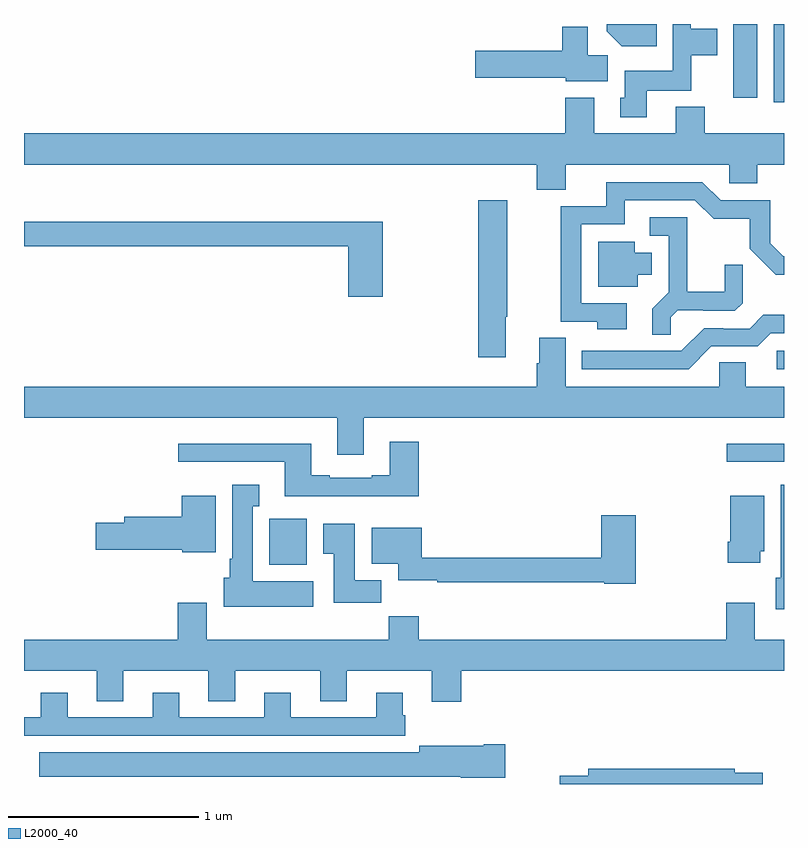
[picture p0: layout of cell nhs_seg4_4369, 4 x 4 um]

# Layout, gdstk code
import gdstk
lib = gdstk.Library(unit=1e-6, precision=1e-09)
def R(c, l, rs):  # rectangles x0, y0, x1, y1
    for r in rs: c.add(gdstk.rectangle(r[:2], r[2:], *l))
def P(c, l, *ps):  # polygons
    for p in ps: c.add(gdstk.Polygon(p, *l))
L2000_40 = (2000, 40)

nhs_seg4_4369 = lib.new_cell('nhs_seg4_4369')
R(nhs_seg4_4369, L2000_40, [(346.292,788.054,346.489,788.296), (348.699,788.595,349,788.692), (348.963,789.084,349,789.18), (348.947,790.488,349,790.9), (348.734,790.512,348.859,790.9)])
P(nhs_seg4_4369, L2000_40, [(348.277,790.55),(348.513,790.55),(348.513,790.736),(348.649,790.736),(348.649,790.876),(348.51,790.876),(348.51,790.9),(348.414,790.9),(348.414,790.654),(348.161,790.654),(348.161,790.512),(348.137,790.512),(348.137,790.41),(348.277,790.41)],
  [(348.329,790.9),(348.068,790.9),(348.068,790.862),(348.146,790.784),(348.329,790.784)],
  [(348.073,790.736),(347.968,790.736),(347.968,790.885),(347.834,790.885),(347.834,790.76),(347.376,790.76),(347.376,790.618),(347.85,790.618),(347.85,790.598),(348.073,790.598)],
  [(347.851,790.16),(348.711,790.16),(348.711,790.062),(348.858,790.062),(348.858,790.16),(349,790.16),(349,790.324),(348.584,790.324),(348.584,790.465),(348.431,790.465),(348.431,790.324),(348.001,790.324),(348.001,790.513),(347.849,790.513),(347.849,790.324),(345,790.324),(345,790.16),(347.699,790.16),(347.699,790.027),(347.851,790.027)],
  [(348.172,789.429),(347.934,789.429),(347.934,789.846),(348.163,789.846),(348.163,789.972),(348.531,789.972),(348.63,789.874),(348.819,789.874),(348.819,789.718),(348.956,789.581),(349,789.581),(349,789.678),(348.996,789.678),(348.927,789.747),(348.927,789.972),(348.666,789.972),(348.57,790.068),(348.065,790.068),(348.065,789.942),(347.826,789.942),(347.826,789.333),(348.016,789.333),(348.016,789.293),(348.172,789.293)],
  [(347.536,789.359),(347.544,789.359),(347.544,789.973),(347.39,789.973),(347.39,789.147),(347.536,789.147)],
  [(348.405,789.356),(348.442,789.393),(348.576,789.393),(348.576,789.39),(348.741,789.39),(348.782,789.431),(348.782,789.633),(348.688,789.633),(348.688,789.49),(348.491,789.49),(348.491,789.882),(348.294,789.882),(348.294,789.786),(348.393,789.786),(348.393,789.487),(348.307,789.401),(348.307,789.265),(348.405,789.265)],
  [(346.889,789.859),(345,789.859),(345,789.73),(346.706,789.73),(346.706,789.465),(346.889,789.465)],
  [(348.229,789.581),(348.304,789.581),(348.304,789.697),(348.214,789.697),(348.214,789.754),(348.023,789.754),(348.023,789.518),(348.229,789.518)],
  [(348.618,789.204),(348.861,789.204),(348.93,789.273),(349,789.273),(349,789.37),(348.892,789.37),(348.819,789.297),(348.68,789.297),(348.68,789.3),(348.579,789.3),(348.459,789.18),(347.936,789.18),(347.936,789.084),(348.498,789.084)],
  [(346.789,788.828),(349,788.828),(349,788.992),(348.799,788.992),(348.799,789.119),(348.66,789.119),(348.66,788.992),(347.851,788.992),(347.851,789.248),(347.711,789.248),(347.711,789.114),(347.699,789.114),(347.699,788.992),(345,788.992),(345,788.828),(346.649,788.828),(346.649,788.634),(346.789,788.634)],
  [(347.078,788.701),(346.925,788.701),(346.925,788.524),(346.829,788.524),(346.829,788.511),(346.609,788.511),(346.609,788.524),(346.513,788.524),(346.513,788.692),(345.813,788.692),(345.813,788.595),(346.373,788.595),(346.373,788.414),(347.078,788.414)],
  [(349,788.476),(348.983,788.476),(348.983,787.986),(348.956,787.986),(348.956,787.82),(349,787.82)],
  [(346.522,787.966),(346.204,787.966),(346.204,788.363),(346.237,788.363),(346.237,788.476),(346.097,788.476),(346.097,788.086),(346.082,788.086),(346.082,787.986),(346.052,787.986),(346.052,787.832),(346.522,787.832)],
  [(346.009,788.416),(345.83,788.416),(345.83,788.306),(345.527,788.306),(345.527,788.276),(345.378,788.276),(345.378,788.134),(345.834,788.134),(345.834,788.12),(346.009,788.12)],
  [(348.874,788.124),(348.895,788.124),(348.895,788.416),(348.716,788.416),(348.716,788.176),(348.704,788.176),(348.704,788.064),(348.874,788.064)],
  [(348.221,788.314),(348.038,788.314),(348.038,788.09),(347.093,788.09),(347.093,788.248),(346.829,788.248),(346.829,788.06),(346.97,788.06),(346.97,787.973),(347.176,787.973),(347.176,787.962),(348.054,787.962),(348.054,787.954),(348.221,787.954)],
  [(346.88,787.972),(346.741,787.972),(346.741,788.269),(346.574,788.269),(346.574,788.113),(346.631,788.113),(346.631,787.854),(346.88,787.854)],
  [(347.3,787.496),(349,787.496),(349,787.66),(348.847,787.66),(348.847,787.855),(348.695,787.855),(348.695,787.66),(347.078,787.66),(347.078,787.784),(346.921,787.784),(346.921,787.66),(345.961,787.66),(345.961,787.855),(345.809,787.855),(345.809,787.66),(345,787.66),(345,787.496),(345.383,787.496),(345.383,787.336),(345.523,787.336),(345.523,787.496),(345.971,787.496),(345.971,787.336),(346.111,787.336),(346.111,787.496),(346.559,787.496),(346.559,787.336),(346.699,787.336),(346.699,787.496),(347.147,787.496),(347.147,787.332),(347.3,787.332)],
  [(347.006,787.263),(346.993,787.263),(346.993,787.381),(346.853,787.381),(346.853,787.251),(346.405,787.251),(346.405,787.381),(346.265,787.381),(346.265,787.251),(345.817,787.251),(345.817,787.381),(345.677,787.381),(345.677,787.251),(345.229,787.251),(345.229,787.381),(345.089,787.381),(345.089,787.251),(345,787.251),(345,787.155),(347.006,787.155)],
  [(347.533,787.11),(347.42,787.11),(347.42,787.102),(347.081,787.102),(347.081,787.066),(345.081,787.066),(345.081,786.938),(347.298,786.938),(347.298,786.932),(347.533,786.932)],
  [(348.887,786.96),(348.74,786.96),(348.74,786.98),(347.969,786.98),(347.969,786.944),(347.82,786.944),(347.82,786.9),(348.887,786.9)])

lib.write_gds('nhs_seg4_4369.gds')
